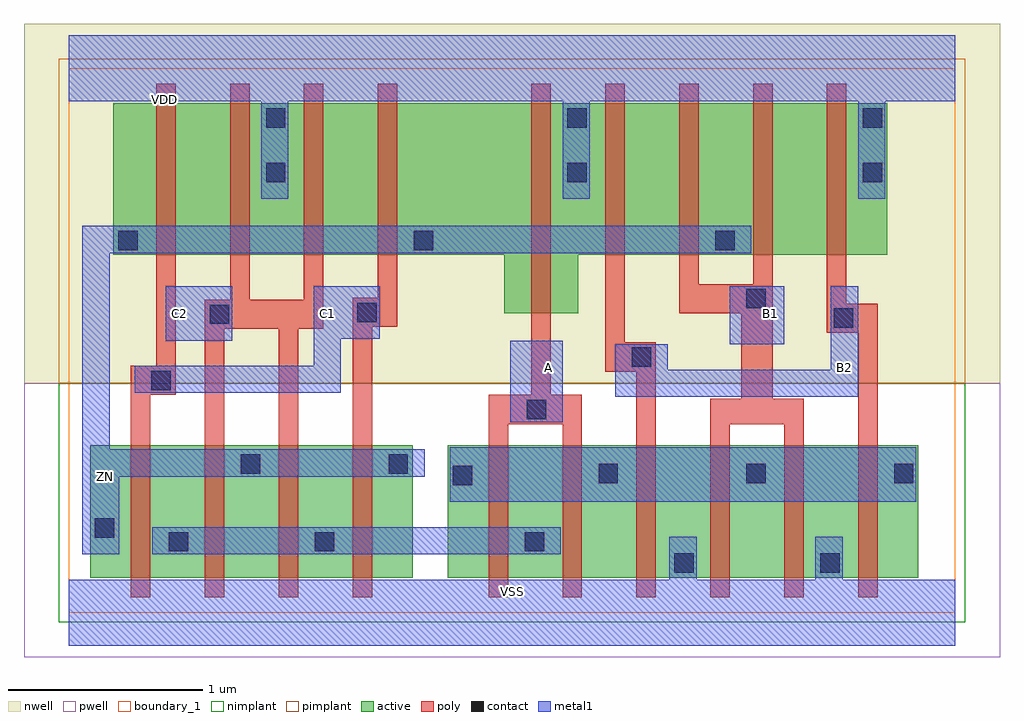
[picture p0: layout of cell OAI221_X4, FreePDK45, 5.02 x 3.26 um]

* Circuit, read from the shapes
.subckt OAI221_X4 A B1 B2 C1 C2 VDD VSS ZN
M1 n1 C1 ZN VSUBS nfet w=0.68u l=0.1u m=2
M2 ZN C2 n1 VSUBS nfet w=0.68u l=0.1u m=2
M3 n1 A n2 VSUBS nfet w=0.68u l=0.1u m=2
M4 VSS B2 n2 VSUBS nfet w=0.68u l=0.1u m=2
M5 n2 B1 VSS VSUBS nfet w=0.68u l=0.1u m=2
M6 n3 C1 ZN n4 pfet w=0.78u l=0.1u
M7 VDD C2 n3 n4 pfet w=0.78u l=0.1u
M8 n5 C2 VDD n4 pfet w=0.78u l=0.1u
M9 ZN C1 n5 n4 pfet w=0.78u l=0.1u
M10 VDD A ZN n4 pfet w=1.08u l=0.1u
M11 n6 B2 VDD n4 pfet w=0.78u l=0.1u
M12 ZN B1 n6 n4 pfet w=0.78u l=0.1u
M13 n7 B1 ZN n4 pfet w=0.78u l=0.1u
M14 VDD B2 n7 n4 pfet w=0.78u l=0.1u
.ends

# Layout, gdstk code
import gdstk
lib = gdstk.Library(unit=1e-6, precision=1e-09)
def R(c, l, rs):  # rectangles x0, y0, x1, y1
    for r in rs: c.add(gdstk.rectangle(r[:2], r[2:], *l))
def A(c, l, x, y, w, h, nx, ny, dx, dy):  # array of equal rectangles
    R(c, l, [(x+i*dx, y+j*dy, x+i*dx+w, y+j*dy+h) for i in range(nx) for j in range(ny)])
def P(c, l, *ps):  # polygons
    for p in ps: c.add(gdstk.Polygon(p, *l))
active = (1, 0)
pwell = (2, 0)
nwell = (3, 0)
nimplant = (4, 0)
pimplant = (5, 0)
poly = (9, 0)
contact = (10, 0)
metal1 = (11, 0)
boundary_1 = (235, 1)

oai221_x4 = lib.new_cell('OAI221_X4')
R(oai221_x4, active, [(0.11,0.18,1.77,0.86), (1.95,0.18,4.37,0.86)])
P(oai221_x4, active, [(0.23,1.84),(2.24,1.84),(2.24,1.54),(2.62,1.54),(2.62,1.84),(4.21,1.84),(4.21,2.62),(0.23,2.62)])
R(oai221_x4, pwell, [(-0.23,-0.23,4.79,1.18)])
R(oai221_x4, nwell, [(-0.23,1.18,4.79,3.03)])
R(oai221_x4, nimplant, [(-0.05,-0.05,4.61,1.18)])
R(oai221_x4, pimplant, [(-0.05,1.18,4.61,2.85)])
P(oai221_x4, poly, [(3.9,1.44),(4.06,1.44),(4.06,0.08),(4.16,0.08),(4.16,1.59),(4,1.59),(4,2.72),(3.9,2.72)],
  [(3.14,1.54),(3.46,1.54),(3.46,1.1),(3.3,1.1),(3.3,0.08),(3.4,0.08),(3.4,0.97),(3.68,0.97),(3.68,0.08),(3.78,0.08),(3.78,1.1),(3.62,1.1),(3.62,2.72),(3.52,2.72),(3.52,1.69),(3.24,1.69),(3.24,2.72),(3.14,2.72)],
  [(2.76,1.24),(2.92,1.24),(2.92,0.08),(3.02,0.08),(3.02,1.39),(2.86,1.39),(2.86,2.72),(2.76,2.72)],
  [(2.16,0.08),(2.26,0.08),(2.26,0.97),(2.54,0.97),(2.54,0.08),(2.64,0.08),(2.64,1.12),(2.48,1.12),(2.48,2.72),(2.38,2.72),(2.38,1.12),(2.16,1.12)],
  [(1.46,0.08),(1.56,0.08),(1.56,1.47),(1.69,1.47),(1.69,2.72),(1.59,2.72),(1.59,1.62),(1.46,1.62)],
  [(0.7,0.08),(0.8,0.08),(0.8,1.46),(1.08,1.46),(1.08,0.08),(1.18,0.08),(1.18,1.46),(1.31,1.46),(1.31,2.72),(1.21,2.72),(1.21,1.61),(0.93,1.61),(0.93,2.72),(0.83,2.72),(0.83,1.61),(0.7,1.61)],
  [(0.32,0.08),(0.42,0.08),(0.42,1.12),(0.55,1.12),(0.55,2.72),(0.45,2.72),(0.45,1.27),(0.32,1.27)])
A(oai221_x4, contact, 2.725, 0.665, 0.1, 0.1, 3, 1, 0.76, 0)
R(oai221_x4, contact, [(3.115,0.205,3.215,0.305), (3.865,0.205,3.965,0.305), (0.515,0.315,0.615,0.415), (1.265,0.315,1.365,0.415), (2.345,0.315,2.445,0.415), (0.135,0.385,0.235,0.485), (1.975,0.655,2.075,0.755), (0.885,0.715,0.985,0.815), (1.645,0.715,1.745,0.815), (2.355,0.995,2.455,1.095), (0.425,1.145,0.525,1.245), (2.895,1.265,2.995,1.365), (3.935,1.465,4.035,1.565), (0.725,1.485,0.825,1.585), (1.485,1.495,1.585,1.595), (3.485,1.565,3.585,1.665), (0.255,1.865,0.355,1.965), (1.775,1.865,1.875,1.965), (3.325,1.865,3.425,1.965), (1.015,2.215,1.115,2.315), (2.565,2.215,2.665,2.315), (4.085,2.215,4.185,2.315), (1.015,2.495,1.115,2.595), (2.565,2.495,2.665,2.595), (4.085,2.495,4.185,2.595)])
R(oai221_x4, metal1, [(0.43,0.3,2.53,0.44), (1.96,0.57,4.36,0.85), (2.27,0.98,2.54,1.4), (2.27,0.98,2.54,1.4), (3.4,1.38,3.68,1.68), (3.4,1.38,3.68,1.68), (0.5,1.4,0.84,1.68), (0.5,1.4,0.84,1.68)])
P(oai221_x4, metal1, [(2.81,1.11),(4.06,1.11),(4.06,1.68),(3.92,1.68),(3.92,1.25),(3.08,1.25),(3.08,1.38),(2.81,1.38)],
  [(0,-0.17),(4.56,-0.17),(4.56,0.17),(3.98,0.17),(3.98,0.39),(3.84,0.39),(3.84,0.17),(3.23,0.17),(3.23,0.39),(3.09,0.39),(3.09,0.17),(0,0.17)],
  [(0.34,1.13),(1.4,1.13),(1.4,1.41),(1.6,1.41),(1.6,1.68),(1.26,1.68),(1.26,1.27),(0.34,1.27)],
  [(0.21,1.85),(3.51,1.85),(3.51,1.99),(0.07,1.99),(0.07,0.3),(0.26,0.3),(0.26,0.7),(1.83,0.7),(1.83,0.84),(0.21,0.84)],
  [(0,2.63),(0.99,2.63),(0.99,2.13),(1.13,2.13),(1.13,2.63),(2.54,2.63),(2.54,2.13),(2.68,2.13),(2.68,2.63),(4.06,2.63),(4.06,2.13),(4.2,2.13),(4.2,2.63),(4.56,2.63),(4.56,2.97),(0,2.97)],
  [(0,2.63),(0.99,2.63),(0.99,2.13),(1.13,2.13),(1.13,2.63),(2.54,2.63),(2.54,2.13),(2.68,2.13),(2.68,2.63),(4.06,2.63),(4.06,2.13),(4.2,2.13),(4.2,2.63),(4.56,2.63),(4.56,2.97),(0,2.97)],
  [(0,-0.17),(4.56,-0.17),(4.56,0.17),(3.98,0.17),(3.98,0.39),(3.84,0.39),(3.84,0.17),(3.23,0.17),(3.23,0.39),(3.09,0.39),(3.09,0.17),(0,0.17)],
  [(2.81,1.11),(4.06,1.11),(4.06,1.68),(3.92,1.68),(3.92,1.25),(3.08,1.25),(3.08,1.38),(2.81,1.38)],
  [(0.21,1.85),(3.51,1.85),(3.51,1.99),(0.07,1.99),(0.07,0.3),(0.26,0.3),(0.26,0.7),(1.83,0.7),(1.83,0.84),(0.21,0.84)],
  [(0.34,1.13),(1.4,1.13),(1.4,1.41),(1.6,1.41),(1.6,1.68),(1.26,1.68),(1.26,1.27),(0.34,1.27)])
R(oai221_x4, boundary_1, [(0,0,4.56,2.8)])
oai221_x4.add(gdstk.Label('ZN', (0.19,0.7), layer=11, texttype=0))
oai221_x4.add(gdstk.Label('VSS', (2.28,0.11), layer=11, texttype=0))
oai221_x4.add(gdstk.Label('VDD', (0.495,2.64), layer=11, texttype=0))
oai221_x4.add(gdstk.Label('C2', (0.57,1.54), layer=11, texttype=0))
oai221_x4.add(gdstk.Label('C1', (1.33,1.54), layer=11, texttype=0))
oai221_x4.add(gdstk.Label('B2', (3.99,1.26), layer=11, texttype=0))
oai221_x4.add(gdstk.Label('B1', (3.61,1.54), layer=11, texttype=0))
oai221_x4.add(gdstk.Label('A', (2.47,1.26), layer=11, texttype=0))

lib.write_gds('OAI221_X4.gds')
